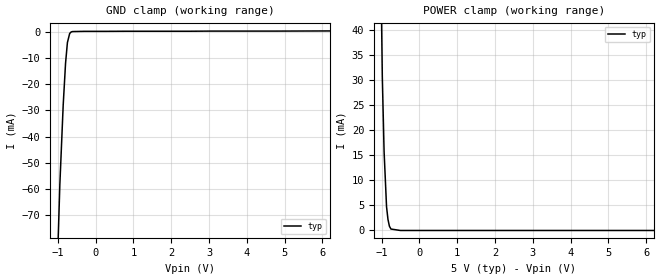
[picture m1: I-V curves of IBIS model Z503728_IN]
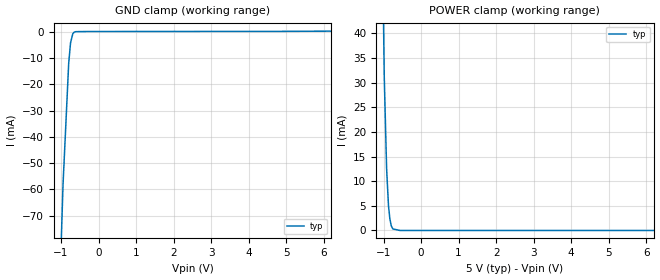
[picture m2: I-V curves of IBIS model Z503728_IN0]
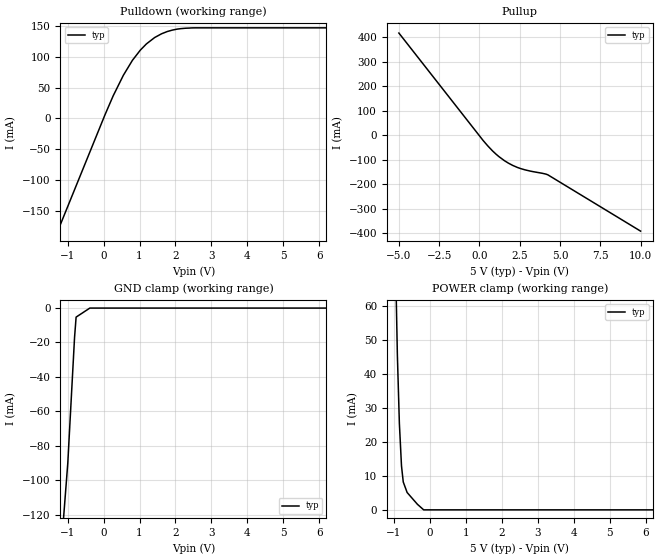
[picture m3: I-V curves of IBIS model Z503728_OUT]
| YOU ARE ONLY AUTHORIZED TO USE THIS SOFTWARE
| ACCORDING TO LICENSOR'S LICENSE RESTRICTIONS.
[IBIS Ver] 3.1
[File Name] mc74ac139n_5.ibs
[File Rev] 2.0
[Source] Measured and created by ICX Technology
[Date] Friday 7/14/00 9:07:58 AM
[Copyright]
| (C) COPYRIGHT 1993-2000
| MENTOR GRAPHICS CORPORATION
| ICX STANDARD LIBRARY, ICX PROJECT MODELING,
| ICX CUSTOM MODELING, ICX VENDOR MODEL
| ALL RIGHTS RESERVED.
| THE FOLLOWING ARE TRADEMARKS OR SERVICE MARKS OF
| MENTOR GRAPHICS CORPORATION:ICX (R), ICX STANDARD
| LIBRARY(R), ICX PROJECT MODELING(R), ICX CUSTOM
| MODELING(R), qualityIBIS(TM), MODELVIEWER(TM),
| AND MODELEDITOR(TM)
| ALL COPIES OF SOFTWARE, INCLUDING BUT NOT LIMITED TO
| ANY MODIFICATIONS, ENHANCEMENTS OR DERIVATIVE WORKS,
| MUST CONTAIN ALL MENTOR GRAPHICS CORPORATION'S
| NOTICES AND LEGENDS, INCLUDING THOSE EMBEDDED IN
| SOFTWARE AND THOSE AFFIXED TO SOFTWARE MEDIUM
| AND CONTAINER, AS RECEIVED FROM MENTOR GRAPHICS
| CORPORATION.
|  ZAP Model Builder 2.7
[Component] MC74AC139N_5
[Manufacturer] OnSemiconductor
[Package]
| variable   typ   min   max
R_pkg  .212ohms NA NA
L_pkg  4.758nH NA NA
C_pkg  1.143pF NA NA
[Pin] signal_name  model_name  R_pin  L_pin C_pin
1 _G Z503728_IN0 .224 7.258n 1.578p
2 A Z503728_IN .216 5.258n 1.288p
3 B Z503728_IN .208 3.758n .998p
4 _Y0 Z503728_OUT .2 2.758n .708p
5 _Y1 Z503728_OUT .2 2.758n .708p
6 _Y2 Z503728_OUT .208 3.758n .998p
7 _Y3 Z503728_OUT .216 5.258n 1.288p
8 GND GND .224 7.258n 1.578p
9 _Y3 Z503728_OUT .224 7.258n 1.578p
10 _Y2 Z503728_OUT .216 5.258n 1.288p
11 _Y1 Z503728_OUT .208 3.758n .998p
12 _Y0 Z503728_OUT .2 2.758n .708p
13 B Z503728_IN .2 2.758n .708p
14 A Z503728_IN .208 3.758n .998p
15 _G Z503728_IN0 .216 5.258n 1.288p
16 VCC POWER .224 7.258n 1.578p
| Models and submodels in the file (3): Z503728_IN (Input), Z503728_IN0 (Input), Z503728_OUT (Output)
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| (C) COPYRIGHT 1993-2000
| MENTOR GRAPHICS CORPORATION
| ICX STANDARD LIBRARY, ICX PROJECT MODELING,
| ICX CUSTOM MODELING, ICX VENDOR MODEL
| ALL RIGHTS RESERVED.
| THE FOLLOWING ARE TRADEMARKS OR SERVICE MARKS OF
| MENTOR GRAPHICS CORPORATION:ICX (R), ICX STANDARD
| LIBRARY(R), ICX PROJECT MODELING(R), ICX CUSTOM
| MODELING(R), qualityIBIS(TM), MODELVIEWER(TM),
| AND MODELEDITOR(TM)
| ALL COPIES OF SOFTWARE, INCLUDING BUT NOT LIMITED TO
| ANY MODIFICATIONS, ENHANCEMENTS OR DERIVATIVE WORKS,
| MUST CONTAIN ALL MENTOR GRAPHICS CORPORATION'S
| NOTICES AND LEGENDS, INCLUDING THOSE EMBEDDED IN
| SOFTWARE AND THOSE AFFIXED TO SOFTWARE MEDIUM
| AND CONTAINER, AS RECEIVED FROM MENTOR GRAPHICS
| CORPORATION.
| Model Application Version 1.89 2/18/99.
[Model] Z503728_IN
Model_type Input
Vinl = 1.500V
Vinh = 3.500V
C_comp 4.000pF NA NA
| variable typ   min   max
[Voltage Range] 5.000V NA NA
[GND Clamp Reference] 0.000V NA NA
[POWER Clamp Reference] 5.000V NA NA
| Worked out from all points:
|   GND clamp passes 1 mA (typ) near -0.69 V on its own axis
|   POWER clamp passes 1 mA (typ) near -0.80 V on its own axis
[GND Clamp]
-5V       -2.057A    NA         NA
-1.054V   -108.4mA   NA         NA
-946.9mV  -58.3mA    NA         NA
-858.3mV  -27.99mA   NA         NA
-795.7mV  -11.99mA   NA         NA
-746.9mV  -4.153mA   NA         NA
-686.9mV  -686uA     NA         NA
-648.1mV  -106.1uA   NA         NA
10V       447.1uA    NA         NA
[POWER Clamp]
-5V       4.225A     NA         NA
-1.248V   226.5mA    NA         NA
-1.104V   101.4mA    NA         NA
-981mV    30.61mA    NA         NA
-934mV    15.75mA    NA         NA
-869mV    4.734mA    NA         NA
-831mV    2.194mA    NA         NA
-793mV    844.4uA    NA         NA
-752mV    285.3uA    NA         NA
-501.3mV  0A         NA         NA
10V       0A         NA         NA
| (C) COPYRIGHT 1993-2000
| MENTOR GRAPHICS CORPORATION
| ICX STANDARD LIBRARY, ICX PROJECT MODELING,
| ICX CUSTOM MODELING, ICX VENDOR MODEL
| ALL RIGHTS RESERVED.
| THE FOLLOWING ARE TRADEMARKS OR SERVICE MARKS OF
| MENTOR GRAPHICS CORPORATION:ICX (R), ICX STANDARD
| LIBRARY(R), ICX PROJECT MODELING(R), ICX CUSTOM
| MODELING(R), qualityIBIS(TM), MODELVIEWER(TM),
| AND MODELEDITOR(TM)
| ALL COPIES OF SOFTWARE, INCLUDING BUT NOT LIMITED TO
| ANY MODIFICATIONS, ENHANCEMENTS OR DERIVATIVE WORKS,
| MUST CONTAIN ALL MENTOR GRAPHICS CORPORATION'S
| NOTICES AND LEGENDS, INCLUDING THOSE EMBEDDED IN
| SOFTWARE AND THOSE AFFIXED TO SOFTWARE MEDIUM
| AND CONTAINER, AS RECEIVED FROM MENTOR GRAPHICS
| CORPORATION.
| Model Application Version 1.89 2/18/99.
[Model] Z503728_IN0
Model_type Input
Vinl = 1.500V
Vinh = 3.500V
C_comp 4.000pF NA NA
| variable typ   min   max
[Voltage Range] 5.000V NA NA
[GND Clamp Reference] 0.000V NA NA
[POWER Clamp Reference] 5.000V NA NA
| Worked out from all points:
|   GND clamp passes 1 mA (typ) near -0.69 V on its own axis
|   POWER clamp passes 1 mA (typ) near -0.79 V on its own axis
[GND Clamp]
-5V       -2.056A    NA         NA
-1.041V   -100.9mA   NA         NA
-946.9mV  -58.24mA   NA         NA
-796.1mV  -12.07mA   NA         NA
-747.1mV  -4.208mA   NA         NA
-687.1mV  -731.9uA   NA         NA
-647.8mV  -117uA     NA         NA
10V       501.4uA    NA         NA
[POWER Clamp]
-5V       4.312A     NA         NA
-1.246V   228.7mA    NA         NA
-1.104V   102.4mA    NA         NA
-981mV    31.2mA     NA         NA
-918mV    12.54mA    NA         NA
-868mV    5.012mA    NA         NA
-831mV    2.345mA    NA         NA
-793mV    925.7uA    NA         NA
-751mV    316.2uA    NA         NA
-563.2mV  0A         NA         NA
10V       0A         NA         NA
| (C) COPYRIGHT 1993-2000
| MENTOR GRAPHICS CORPORATION
| ICX STANDARD LIBRARY, ICX PROJECT MODELING,
| ICX CUSTOM MODELING, ICX VENDOR MODEL
| ALL RIGHTS RESERVED.
| THE FOLLOWING ARE TRADEMARKS OR SERVICE MARKS OF
| MENTOR GRAPHICS CORPORATION:ICX (R), ICX STANDARD
| LIBRARY(R), ICX PROJECT MODELING(R), ICX CUSTOM
| MODELING(R), qualityIBIS(TM), MODELVIEWER(TM),
| AND MODELEDITOR(TM)
| ALL COPIES OF SOFTWARE, INCLUDING BUT NOT LIMITED TO
| ANY MODIFICATIONS, ENHANCEMENTS OR DERIVATIVE WORKS,
| MUST CONTAIN ALL MENTOR GRAPHICS CORPORATION'S
| NOTICES AND LEGENDS, INCLUDING THOSE EMBEDDED IN
| SOFTWARE AND THOSE AFFIXED TO SOFTWARE MEDIUM
| AND CONTAINER, AS RECEIVED FROM MENTOR GRAPHICS
| CORPORATION.
| Model Application Version 1.89 2/18/99.
[Model] Z503728_OUT
Model_type Output
Vref=0.000V
Rref=500.0ohms
Cref=50.00pF
Vmeas=2.500V
C_comp 5.000pF NA NA
| variable typ   min   max
[Voltage Range] 5.000V NA NA
[POWER Clamp Reference] 5.000V NA NA
[Pullup Reference] 5.000V NA NA
[Pulldown Reference] 0.000V NA NA
[GND Clamp Reference] 0.000V NA NA
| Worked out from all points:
|   slope of the pulldown table from 0 to 0.75 V, typ, clamps not added: 8.46 ohm
|   slope of the pullup table from 0 to 0.75 V, typ, clamps not added: 13.1 ohm
|   POWER clamp passes 1 mA (typ) near -0.28 V on its own axis
[GND Clamp]
-5V       -1.174A    NA         NA
-996.1mV  -90.19mA   NA         NA
-807.5mV  -17.06mA   NA         NA
-764.2mV  -5.25mA    NA         NA
-382.1mV  0A         NA         NA
10V       0A         NA         NA
[Pulldown]
-5V       -714.7mA   NA         NA
40.17mV   6.077mA    NA         NA
267.4mV   36.65mA    NA         NA
551.9mV   69.99mA    NA         NA
802.4mV   94.02mA    NA         NA
1.025V    110.7mA    NA         NA
1.192V    120.6mA    NA         NA
1.421V    130.9mA    NA         NA
1.771V    140.6mA    NA         NA
2.147V    145.3mA    NA         NA
2.544V    146.6mA    NA         NA
10V       146.6mA    NA         NA
[Pullup]
-5V       416.9mA    NA         NA
237mV     -22.08mA   NA         NA
811mV     -63.71mA   NA         NA
1.205V    -86.92mA   NA         NA
1.797V    -113.7mA   NA         NA
2.358V    -131.3mA   NA         NA
4.243V    -161.3mA   NA         NA
10V       -391mA     NA         NA
[POWER Clamp]
-5V       3.174A     NA         NA
-1.014V   103.8mA    NA         NA
-906mV    45.67mA    NA         NA
-850mV    25.46mA    NA         NA
-791mV    12.94mA    NA         NA
-742mV    8.2mA      NA         NA
-634mV    5.102mA    NA         NA
-347mV    1.629mA    NA         NA
-173.5mV  0A         NA         NA
10V       0A         NA         NA
[Ramp]
| variable typ min max
dV/dt_r 2.947/342.4p NA NA
dV/dt_f 2.947/315.4p NA NA
R_load = 500.0Ohms
